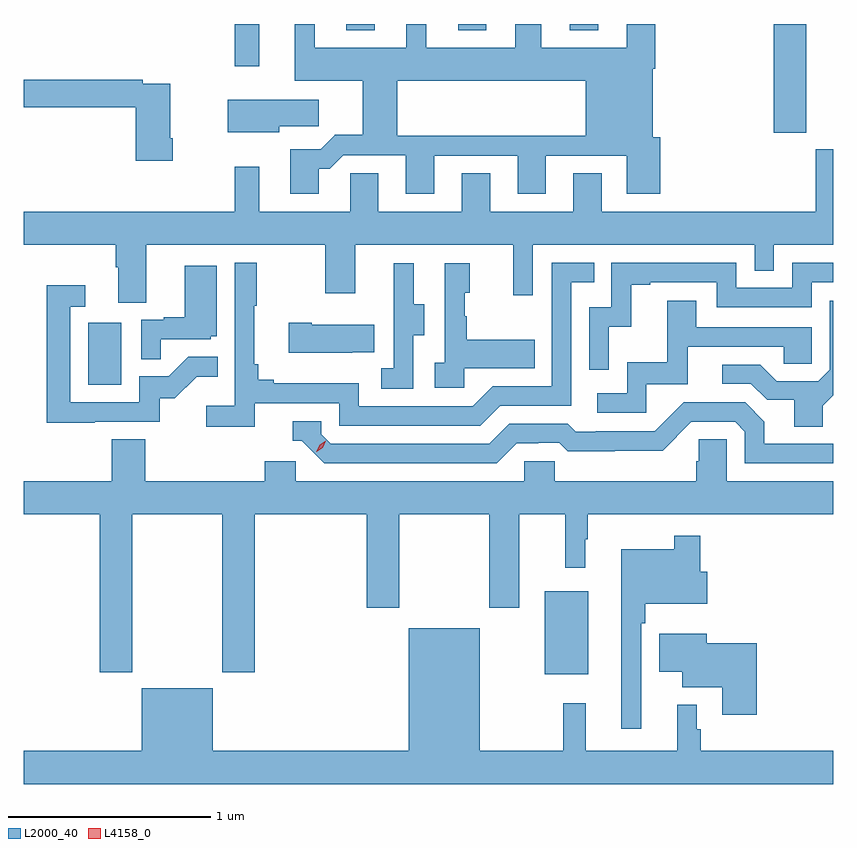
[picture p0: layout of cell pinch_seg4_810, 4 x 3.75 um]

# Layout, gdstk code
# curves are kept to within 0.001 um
import gdstk
lib = gdstk.Library(unit=1e-6, precision=1e-09)
def R(c, l, rs):  # rectangles x0, y0, x1, y1
    for r in rs: c.add(gdstk.rectangle(r[:2], r[2:], *l))
def A(c, l, x, y, w, h, nx, ny, dx, dy):  # array of equal rectangles
    R(c, l, [(x+i*dx, y+j*dy, x+i*dx+w, y+j*dy+h) for i in range(nx) for j in range(ny)])
def P(c, l, *ps):  # polygons
    for p in ps: c.add(gdstk.Polygon(p, *l))
L2000_40 = (2000, 40)
L4158_0 = (4158, 0)

pinch_seg4_810 = lib.new_cell('pinch_seg4_810')
A(pinch_seg4_810, L2000_40, 820.163, 799.211, 0.14, 0.032, 3, 1, 0.552, 0)
R(pinch_seg4_810, L2000_40, [(821.144,796.031,821.359,796.441), (818.888,797.46,819.052,797.767), (822.275,798.705,822.435,799.243), (819.612,799.035,819.733,799.243)])
P(pinch_seg4_810, L2000_40, [(819.887,798.625),(819.887,798.405),(820.027,798.405),(820.027,798.527),(820.082,798.527),(820.149,798.594),(820.457,798.594),(820.457,798.405),(820.597,798.405),(820.597,798.591),(821.009,798.591),(821.009,798.405),(821.149,798.405),(821.149,798.591),(821.549,798.591),(821.549,798.405),(821.714,798.405),(821.714,798.684),(821.677,798.684),(821.677,799.022),(821.69,799.022),(821.69,799.243),(821.549,799.243),(821.549,799.126),(821.125,799.126),(821.125,799.243),(820.997,799.243),(820.997,799.126),(820.558,799.126),(820.558,799.243),(820.46,799.243),(820.46,799.126),(820.006,799.126),(820.006,799.243),(819.908,799.243),(819.908,798.962),(820.244,798.962),(820.244,798.695),(820.106,798.695),(820.103,798.692),(820.415,798.692),(820.415,798.962),(821.345,798.962),(821.345,798.692),(820.103,798.692),(820.036,798.625)],
  [(819.305,798.679),(819.292,798.679),(819.292,798.948),(819.158,798.948),(819.158,798.968),(818.569,798.968),(818.569,798.832),(819.122,798.832),(819.122,798.567),(819.305,798.567)],
  [(819.832,798.739),(820.027,798.739),(820.027,798.868),(819.578,798.868),(819.578,798.707),(819.832,798.707)],
  [(819.175,798.152),(820.06,798.152),(820.06,797.913),(820.207,797.913),(820.207,798.152),(820.988,798.152),(820.988,797.904),(821.085,797.904),(821.085,798.152),(822.18,798.152),(822.18,798.025),(822.276,798.025),(822.276,798.152),(822.569,798.152),(822.569,798.625),(822.482,798.625),(822.482,798.316),(821.425,798.316),(821.425,798.506),(821.285,798.506),(821.285,798.316),(820.873,798.316),(820.873,798.506),(820.733,798.506),(820.733,798.316),(820.321,798.316),(820.321,798.506),(820.182,798.506),(820.182,798.316),(819.733,798.316),(819.733,798.538),(819.612,798.538),(819.612,798.316),(818.569,798.316),(818.569,798.152),(819.023,798.152),(819.023,798.04),(819.035,798.04),(819.035,797.866),(819.175,797.866)],
  [(819.71,797.37),(820.128,797.37),(820.128,797.259),(820.825,797.259),(820.924,797.358),(821.274,797.358),(821.274,797.967),(821.387,797.967),(821.387,798.063),(821.178,798.063),(821.178,797.454),(820.887,797.454),(820.788,797.355),(820.224,797.355),(820.224,797.467),(819.805,797.467),(819.805,797.486),(819.728,797.486),(819.728,797.563),(819.709,797.563),(819.709,797.851),(819.721,797.851),(819.721,798.064),(819.612,798.064),(819.612,797.356),(819.471,797.356),(819.471,797.254),(819.71,797.254)],
  [(821.46,797.747),(821.57,797.747),(821.57,797.955),(821.665,797.955),(821.665,797.967),(821.994,797.967),(821.994,797.844),(822.462,797.844),(822.462,797.967),(822.569,797.967),(822.569,798.063),(822.366,798.063),(822.366,797.94),(822.09,797.94),(822.09,798.063),(821.472,798.063),(821.472,797.844),(821.364,797.844),(821.364,797.535),(821.46,797.535)],
  [(820.494,797.704),(820.549,797.704),(820.549,797.859),(820.495,797.859),(820.495,798.061),(820.397,798.061),(820.397,797.847),(820.398,797.847),(820.398,797.543),(820.335,797.543),(820.335,797.44),(820.494,797.44)],
  [(820.746,797.543),(821.093,797.543),(821.093,797.683),(820.759,797.683),(820.759,797.798),(820.749,797.798),(820.749,797.916),(820.774,797.916),(820.774,798.061),(820.65,798.061),(820.65,797.57),(820.599,797.57),(820.599,797.445),(820.746,797.445)],
  [(819.245,797.685),(819.492,797.685),(819.492,797.7),(819.523,797.7),(819.523,798.049),(819.365,798.049),(819.365,797.794),(819.261,797.794),(819.261,797.781),(819.15,797.781),(819.15,797.587),(819.245,797.587)],
  [(818.921,797.277),(819.24,797.277),(819.24,797.394),(819.316,797.394),(819.423,797.501),(819.527,797.501),(819.527,797.6),(819.383,797.6),(819.285,797.502),(819.141,797.502),(819.141,797.373),(818.799,797.373),(818.799,797.847),(818.872,797.847),(818.872,797.953),(818.683,797.953),(818.683,797.272),(818.921,797.272)],
  [(822.517,797.356),(822.569,797.408),(822.569,797.875),(822.552,797.875),(822.552,797.535),(822.495,797.478),(822.289,797.478),(822.208,797.559),(822.021,797.559),(822.021,797.466),(822.162,797.466),(822.242,797.386),(822.377,797.386),(822.377,797.254),(822.517,797.254)],
  [(821.646,797.463),(821.851,797.463),(821.851,797.649),(822.325,797.649),(822.325,797.565),(822.462,797.565),(822.462,797.745),(821.893,797.745),(821.893,797.875),(821.749,797.875),(821.749,797.572),(821.55,797.572),(821.55,797.418),(821.403,797.418),(821.403,797.322),(821.646,797.322)],
  [(820.193,797.621),(820.301,797.621),(820.301,797.758),(819.991,797.758),(819.991,797.766),(819.879,797.766),(819.879,797.618),(820.193,797.618)],
  [(821.005,797.172),(821.112,797.172),(821.112,797.175),(821.215,797.175),(821.257,797.133),(821.49,797.133),(821.49,797.135),(821.726,797.135),(821.868,797.277),(822.084,797.277),(822.132,797.229),(822.132,797.073),(822.569,797.073),(822.569,797.169),(822.229,797.169),(822.229,797.279),(822.135,797.373),(821.829,797.373),(821.688,797.232),(821.395,797.232),(821.395,797.229),(821.296,797.229),(821.257,797.268),(820.968,797.268),(820.869,797.169),(820.086,797.169),(820.038,797.217),(820.038,797.28),(819.899,797.28),(819.899,797.184),(819.942,797.184),(820.053,797.073),(820.906,797.073)],
  [(819.105,796.82),(819.55,796.82),(819.55,796.041),(819.71,796.041),(819.71,796.82),(820.265,796.82),(820.265,796.359),(820.425,796.359),(820.425,796.82),(820.87,796.82),(820.87,796.359),(821.017,796.359),(821.017,796.82),(821.245,796.82),(821.245,796.557),(821.344,796.557),(821.344,796.697),(821.356,796.697),(821.356,796.82),(822.569,796.82),(822.569,796.984),(822.042,796.984),(822.042,797.192),(821.905,797.192),(821.905,797.082),(821.891,797.082),(821.891,796.984),(821.193,796.984),(821.193,797.082),(821.043,797.082),(821.043,796.984),(819.912,796.984),(819.912,797.082),(819.761,797.082),(819.761,796.984),(819.17,796.984),(819.17,797.192),(819.005,797.192),(819.005,796.984),(818.569,796.984),(818.569,796.82),(818.945,796.82),(818.945,796.041),(819.105,796.041)],
  [(821.619,796.283),(821.639,796.283),(821.639,796.379),(821.947,796.379),(821.947,796.537),(821.912,796.537),(821.912,796.714),(821.784,796.714),(821.784,796.648),(821.522,796.648),(821.522,795.762),(821.619,795.762)],
  [(822.191,796.183),(821.944,796.183),(821.944,796.231),(821.708,796.231),(821.708,796.043),(821.822,796.043),(821.822,795.965),(822.02,795.965),(822.02,795.831),(822.191,795.831)],
  [(821.798,795.88),(821.798,795.652),(821.345,795.652),(821.345,795.886),(821.235,795.886),(821.235,795.652),(820.822,795.652),(820.822,796.258),(820.472,796.258),(820.472,795.652),(819.502,795.652),(819.502,795.961),(819.152,795.961),(819.152,795.652),(818.569,795.652),(818.569,795.488),(822.569,795.488),(822.569,795.652),(821.915,795.652),(821.915,795.759),(821.895,795.759),(821.895,795.88)])
P(pinch_seg4_810, L4158_0, [(820.015,797.13),(820.015,797.13),(820.031,797.163),(820.062,797.183),(820.062,797.183),(820.062,797.183),(820.046,797.15),(820.016,797.13)])

lib.write_gds('pinch_seg4_810.gds')
